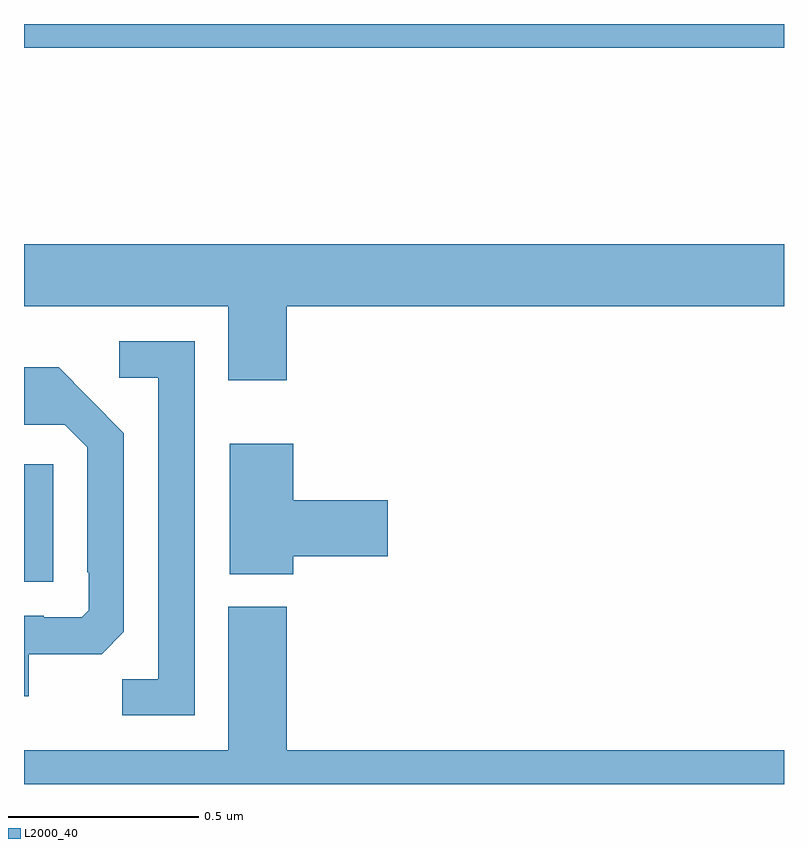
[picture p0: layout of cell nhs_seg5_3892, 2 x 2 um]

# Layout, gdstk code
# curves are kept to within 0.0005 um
import gdstk
lib = gdstk.Library(unit=1e-6, precision=1e-09)
def R(c, l, rs):  # rectangles x0, y0, x1, y1
    for r in rs: c.add(gdstk.rectangle(r[:2], r[2:], *l))
def P(c, l, *ps):  # polygons
    for p in ps: c.add(gdstk.Polygon(p, *l))
L2000_40 = (2000, 40)

nhs_seg5_3892 = lib.new_cell('nhs_seg5_3892')
R(nhs_seg5_3892, L2000_40, [(163,893.331,163.077,893.641), (163,894.736,165,894.799)])
P(nhs_seg5_3892, L2000_40, [(163.691,894.056),(165,894.056),(165,894.22),(163,894.22),(163,894.056),(163.538,894.056),(163.538,893.862),(163.691,893.862)],
  [(163.449,893.964),(163.251,893.964),(163.251,893.868),(163.353,893.868),(163.353,893.075),(163.258,893.075),(163.258,892.98),(163.449,892.98)],
  [(163.012,893.141),(163.204,893.141),(163.263,893.2),(163.263,893.722),(163.091,893.896),(163,893.896),(163,893.745),(163.107,893.745),(163.167,893.685),(163.167,893.356),(163.17,893.356),(163.17,893.256),(163.152,893.238),(163.052,893.238),(163.052,893.242),(163,893.242),(163,893.03),(163.012,893.03)],
  [(163.708,893.399),(163.957,893.399),(163.957,893.546),(163.708,893.546),(163.708,893.695),(163.541,893.695),(163.541,893.351),(163.708,893.351)],
  [(165,892.888),(163.691,892.888),(163.691,893.266),(163.538,893.266),(163.538,892.888),(163,892.888),(163,892.799),(165,892.799)])

lib.write_gds('nhs_seg5_3892.gds')
